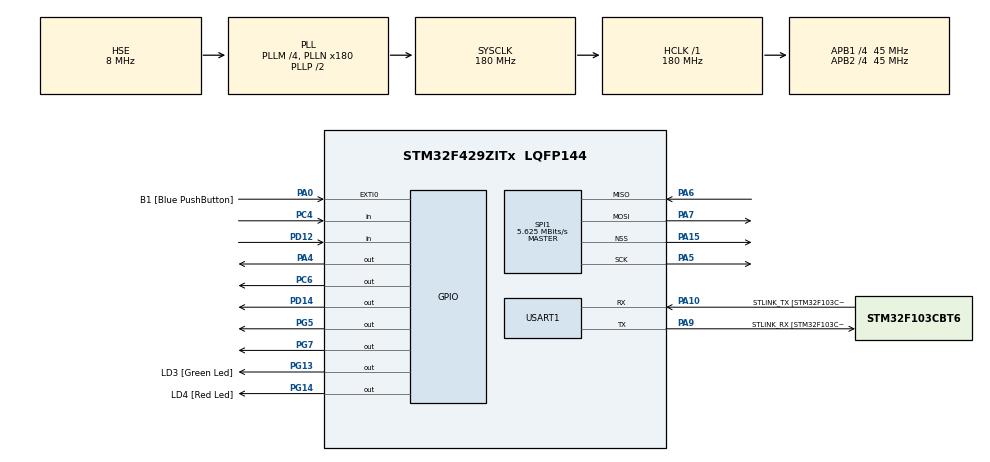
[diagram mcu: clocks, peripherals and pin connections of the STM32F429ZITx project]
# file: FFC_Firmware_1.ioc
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Dma.Request0=USART1_RX
Dma.USART1_RX.0.Direction=DMA_PERIPH_TO_MEMORY
Dma.USART1_RX.0.FIFOMode=DMA_FIFOMODE_DISABLE
Dma.USART1_RX.0.Instance=DMA2_Stream2
Dma.USART1_RX.0.MemDataAlignment=DMA_MDATAALIGN_BYTE
Dma.USART1_RX.0.MemInc=DMA_MINC_ENABLE
Dma.USART1_RX.0.Mode=DMA_CIRCULAR
Dma.USART1_RX.0.PeriphDataAlignment=DMA_PDATAALIGN_BYTE
Dma.USART1_RX.0.PeriphInc=DMA_PINC_DISABLE
Dma.USART1_RX.0.Priority=DMA_PRIORITY_LOW
Mcu.Family=STM32F4
Mcu.Name=STM32F429ZITx
Mcu.Package=LQFP144
NVIC.DMA2_Stream2_IRQn=true\:6\:0\:true\:false\:true\:false\:true\:true
NVIC.PriorityGroup=NVIC_PRIORITYGROUP_4
NVIC.TIM2_IRQn=true\:0\:0\:false\:false\:true\:true\:true\:true
NVIC.TIM6_DAC_IRQn=true\:15\:0\:false\:false\:true\:false\:true\:true
NVIC.TimeBase=TIM6_DAC_IRQn
NVIC.TimeBaseIP=TIM6
NVIC.USART1_IRQn=true\:6\:0\:true\:false\:true\:true\:true\:true
PA0/WKUP.GPIO_Label=B1 [Blue PushButton]
PA0/WKUP.GPIO_ModeDefaultEXTI=GPIO_MODE_EVT_RISING
PA0/WKUP.GPIO_PuPd=GPIO_NOPULL
PA0/WKUP.Signal=GPXTI0
PA10.GPIO_Label=STLINK_TX [STM32F103CBT6_PA2]
PA10.Mode=Asynchronous
PA10.Signal=USART1_RX
PA13.GPIO_Label=SWDIO
PA13.Mode=Serial_Wire
PA13.Signal=SYS_JTMS-SWDIO
PA14.GPIO_Label=SWCLK
PA14.Mode=Serial_Wire
PA14.Signal=SYS_JTCK-SWCLK
PA15.Mode=NSS_Signal_Hard_Output
PA15.Signal=SPI1_NSS
PA4.Signal=GPIO_Output
PA5.Mode=Full_Duplex_Master
PA5.Signal=SPI1_SCK
PA6.Mode=Full_Duplex_Master
PA6.Signal=SPI1_MISO
PA7.Mode=Full_Duplex_Master
PA7.Signal=SPI1_MOSI
PA9.GPIO_Label=STLINK_RX [STM32F103CBT6_PA3]
PA9.Mode=Asynchronous
PA9.Signal=USART1_TX
PC4.Signal=GPIO_Input
PC6.Signal=GPIO_Output
PD12.Signal=GPIO_Input
PD14.Signal=GPIO_Output
PG13.GPIO_Label=LD3 [Green Led]
PG13.GPIO_Mode=GPIO_MODE_OUTPUT_PP
PG13.GPIO_PuPd=GPIO_NOPULL
PG13.GPIO_Speed=GPIO_SPEED_FREQ_LOW
PG13.Signal=GPIO_Output
PG14.GPIO_Label=LD4 [Red Led]
PG14.GPIO_Mode=GPIO_MODE_OUTPUT_PP
PG14.GPIO_PuPd=GPIO_NOPULL
PG14.GPIO_Speed=GPIO_SPEED_FREQ_LOW
PG14.Signal=GPIO_Output
PG5.GPIO_Speed=GPIO_SPEED_FREQ_VERY_HIGH
PG5.Signal=GPIO_Output
PG7.Signal=GPIO_Output
PH0/OSC_IN.GPIO_Label=PH0-OSC_IN
PH0/OSC_IN.Mode=HSE-External-Oscillator
PH0/OSC_IN.Signal=RCC_OSC_IN
PH1/OSC_OUT.GPIO_Label=PH1-OSC_OUT
PH1/OSC_OUT.Mode=HSE-External-Oscillator
PH1/OSC_OUT.Signal=RCC_OSC_OUT
ProjectManager.HeapSize=0x200
ProjectManager.StackSize=0x400
ProjectManager.TargetToolchain=STM32CubeIDE
RCC.48MHZClocksFreq_Value=120000000
RCC.AHBFreq_Value=180000000
RCC.APB1CLKDivider=RCC_HCLK_DIV4
RCC.APB1Freq_Value=45000000
RCC.APB1TimFreq_Value=90000000
RCC.APB2CLKDivider=RCC_HCLK_DIV4
RCC.APB2Freq_Value=45000000
RCC.APB2TimFreq_Value=90000000
RCC.CortexFreq_Value=180000000
RCC.HCLKFreq_Value=180000000
RCC.HSE_VALUE=8000000
RCC.HSI_VALUE=16000000
RCC.LSE_VALUE=32768
RCC.PLLM=4
RCC.PLLN=180
RCC.PLLQ=3
RCC.PLLSAIN=50
RCC.PLLSourceVirtual=RCC_PLLSOURCE_HSE
RCC.SYSCLKFreq_VALUE=180000000
RCC.SYSCLKSource=RCC_SYSCLKSOURCE_PLLCLK
RCC.VCOOutputFreq_Value=360000000
SPI1.BaudRatePrescaler=SPI_BAUDRATEPRESCALER_8
SPI1.CLKPhase=SPI_PHASE_2EDGE
SPI1.CalculateBaudRate=5.625 MBits/s
SPI1.DataSize=SPI_DATASIZE_8BIT
SPI1.Direction=SPI_DIRECTION_2LINES
SPI1.Mode=SPI_MODE_MASTER
SPI1.VirtualNSS=VM_NSSHARD
SPI1.VirtualType=VM_MASTER
TIM2.CounterMode=TIM_COUNTERMODE_DOWN
TIM2.Period=0xffff-1
TIM2.Prescaler=90-1
TIM3.Period=0xffff-1
TIM3.Prescaler=90-1
USART1.VirtualMode=VM_ASYNC
VP_SYS_VS_tim6.Mode=TIM6
VP_TIM2_VS_ClockSourceINT.Mode=Internal
VP_TIM3_VS_ClockSourceINT.Mode=Internal
board=STM32F429I-DISC1

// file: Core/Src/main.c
/* USER CODE BEGIN Header */
/**
  ******************************************************************************
  * @file           : main.c
  * @brief          : Main program body
  ******************************************************************************
  * @attention
  *
  * Copyright (c) 2024 STMicroelectronics.
  * All rights reserved.
  *
  * This software is licensed under terms that can be found in the LICENSE file
  * in the root directory of this software component.
  * If no LICENSE file comes with this software, it is provided AS-IS.
  *
  ******************************************************************************
  */
/* USER CODE END Header */
#include "main.h"

/* USER CODE BEGIN Includes */
#include "stdio.h"
#include <stdarg.h>
#include "string.h"

#include "Uart_Handler.h"
#include "StepperController.h"
#include "RefModel.h"
#include "ADS1220.h"

#include <math.h>
/* USER CODE END Includes */

SPI_HandleTypeDef hspi1;

TIM_HandleTypeDef htim2;
TIM_HandleTypeDef htim3;

UART_HandleTypeDef huart1;
DMA_HandleTypeDef hdma_usart1_rx;

/* USER CODE BEGIN PV */
float speed = 0;
float force;
float LPF1_Beta = 0.6; // 0<ß<1 Force Filter constant

/*Debuging only variables */
float th = 2;
uint16_t fforce = 0;
uint16_t tMarks[10] = {0};
uint16_t timeouts = 0;
uint16_t oddDrv = 0;
/**/

rMod_t hmod1 = {0};
piCon_t hcon1 = {0}; // PI position controller
cMap_1d_t Spring_Map[255] = {{-90, 0},
                            {-5,   0},
                            {-5,   10},
                            { 5,  -10},
                            { 5,   0},
                            { 90,  0}};
uint8_t Spring_Map_Points = 6; // Number of points defined in the curve vector

cMap_1d_t Damping_Map[255] = {{-5,  20},
							  {0,   10},
							  {5,   20}};
uint8_t Damping_Map_Points = 3; // Number of points defined in the curve vector

/* USER CODE END PV */

void SystemClock_Config(void);
static void MX_GPIO_Init(void);
static void MX_DMA_Init(void);
static void MX_USART1_UART_Init(void);
static void MX_TIM2_Init(void);
static void MX_TIM3_Init(void);
static void MX_SPI1_Init(void);
/* USER CODE BEGIN PFP */

uint8_t checkModelTimeout(uint8_t rst, uint32_t dt){

	static uint8_t ptr = 0;

	if (rst) {
		ptr = 0;
		memset(tMarks, 0, sizeof(tMarks));
	}else{
		if(ptr == 0) tMarks[ptr++] = __HAL_TIM_GET_COUNTER(&htim3);
		else tMarks[ptr++] = __HAL_TIM_GET_COUNTER(&htim3) - tMarks[ptr-1];
	}
	  if(__HAL_TIM_GET_COUNTER(&htim3) > dt){
		  HAL_TIM_Base_Stop(&htim3);
		  HAL_TIM_Base_Stop(&htim2);
		  asm("NOP");
		  timeouts++;
		  HAL_TIM_Base_Start(&htim3);
		  HAL_TIM_Base_Start(&htim2);
		  return 1;
	  }
	  return 0;
}
//void delay_us(uint16_t us){
//	__HAL_TIM_SET_COUNTER(&htim2, 0);
//	while(__HAL_TIM_GET_COUNTER(&htim2) < us);
//}

//
//
////https://cdn.sparkfun.com/assets/learn_tutorials/5/4/6/hx711F_EN.pdf
//int32_t Sensor_Receive(void){
//
//	static uint32_t pData = 0;
//	HAL_GPIO_WritePin(GPIOD, GPIO_PIN_14, GPIO_PIN_RESET);
//
//	if(HAL_GPIO_ReadPin(GPIOD, GPIO_PIN_12) == GPIO_PIN_SET) return pData;
////	while(HAL_GPIO_ReadPin(GPIOD, GPIO_PIN_12) == GPIO_PIN_SET);
//	pData = 0;
//
//	// Read ChA Gain 128
//	for(int i=0; i<24; i++){
//		HAL_GPIO_WritePin(GPIOD, GPIO_PIN_14, GPIO_PIN_SET);
//		pData = pData<<1;
//		HAL_GPIO_WritePin(GPIOD, GPIO_PIN_14, GPIO_PIN_RESET);
//		if (HAL_GPIO_ReadPin(GPIOD, GPIO_PIN_12) == GPIO_PIN_SET) pData++;
//	}
//
//	HAL_GPIO_WritePin(GPIOD, GPIO_PIN_14, GPIO_PIN_SET);
//	//pData=pData^0x800000;
//	HAL_GPIO_WritePin(GPIOD, GPIO_PIN_14, GPIO_PIN_RESET);
//
//	if(pData&0x00800000) pData |= 0xff000000; // Convert 24bits 2's complement into 32bits
//	return pData;
//}
/* USER CODE END PFP */

int main(void)
{

  /* MCU Configuration--------------------------------------------------------*/

  /* Reset of all peripherals, Initializes the Flash interface and the Systick. */
  HAL_Init();

  /* Configure the system clock */
  SystemClock_Config();

  /* Initialize all configured peripherals */
  MX_GPIO_Init();
  MX_DMA_Init();
  MX_USART1_UART_Init();
  MX_TIM2_Init();
  MX_TIM3_Init();
  MX_SPI1_Init();
  /* USER CODE BEGIN 2 */

  HAL_TIM_Base_Start(&htim3);
  HAL_TIM_Base_Start_IT(&htim2);
  UART1_Init();
  /* USER CODE END 2 */

  /* Infinite loop */
  /* USER CODE BEGIN WHILE */

//https://roboticx.ps/product/ad620-instrumentation-amplifier-module/

//  ADS1220_select_mux_config(&hspi1, ADS1220_MUX_AIN1_AIN2, &regs);
//  ADS1220_set_pga_gain(&hspi1, ADS1220_PGA_GAIN_128, &regs);
//  ADS1220_set_operating_mode(&hspi1, ADS1220_MODE_TURBO, &regs);
//  ADS1220_set_data_rate(&hspi1, ADS1220_TM_2000SPS, &regs);
//  ADS1220_set_conv_mode_continuous(&hspi1, &regs);
//  ADS1220_set_voltage_ref(&hspi1, ADS1220_VREF_EXT_REF_1, &regs);
//  ADS1220_enable_PSW(&hspi1, &regs);
//  ADS1220_get_config(&hspi1, &regs);

  ADS1220_regs regs = { 0x3E, 0xD4, 0x88, 0x00 };
  ADS1220_init(&hspi1, &regs); // Optionally check for failure
  ADS1220_set_conv_mode_single_shot(&hspi1, &regs);
  //ADS1220_start_conversion(&hspi1);

  	uint32_t timeStamp = 0; /* Timer for UART tx */

  	//force emulation
	int32_t fOffset = 137;
	float scalingFactor_N = 84.5;  // bits per Newton

	hmod1.dt = 500; 	// us /* This can go lower than 500us due ADC timing limitations */

	hmod1.m = 1;
	hmod1.c = 20; 		// N.s/m
	//hmod1.k = 50; 		// N/m

  hmod1.k_map = &Spring_Map;
  hmod1.k_mapSize = Spring_Map_Points;

  hmod1.c_map = &Damping_Map;
  hmod1.c_mapSize = Damping_Map_Points;

	hmod1.us = 0.2; 		// Dynamic friction coefficient
	hmod1.ud = 0.2; 		// Static friction coefficient
	hmod1.N = 5; 			// Normal Force (Weight)
	hmod1.dfv = 0.01;	// mm/s

	hmod1.posMinLim = Spring_Map[0].x;
	hmod1.posMaxLim = Spring_Map[Spring_Map_Points-1].x;

	hmod1.velMaxLim = 1500;	// Hardware max reachable speed.
	hmod1.velMinLim = -1500;

	hcon1.dt = hmod1.dt;
	hcon1.kp = 100;
	hcon1.ki = 0.25;
	hcon1.outMax = hmod1.velMaxLim;
	hcon1.outMin = hmod1.velMinLim;

  while (1)
  {
	  __HAL_TIM_SET_COUNTER(&htim3, 0); // re-start monitoring timer
/*N*/  checkModelTimeout(1, hmod1.dt);

	  UART1_Handler();
	  /*1*/  checkModelTimeout(0, hmod1.dt);
	  int32_t sAux = 0;
	  if( ADS1220_read_singleshot(&hspi1, GPIOC, GPIO_PIN_4, &sAux, 10) ){

		  int16_t raw = ((sAux & 0x00FFFF00)>>8) + fOffset;
		  float nforce = (float)raw / scalingFactor_N;

		  /*Debug Foce sensor*/
		  if(fabs((double)(nforce-force)) > th){
			fforce++;
		  }

		  force = nforce;
	  }

	  /*2*/  checkModelTimeout(0, hmod1.dt);
	// Filter 1 Force
	  static float smoothForce = 0;
	  smoothForce = smoothForce - (LPF1_Beta * (smoothForce - force));
	  /*3*/  checkModelTimeout(0, hmod1.dt);
	// Reference model
	//------------------------------------------//
	 refModel_Tick(&hmod1, smoothForce);
	//------------------------------------------//
	 /*4*/  checkModelTimeout(0, hmod1.dt);
	// Position Controller
	//------------------------------------------//
	hcon1.dt = hmod1.dt;
	float refSpeed = Compute_PI(&hcon1, hmod1.pos, (StepCon_GetPosition()));
	/*5*/  checkModelTimeout(0, hmod1.dt);
	//------------------------------------------//

	 /* Drive motor Speed with corrected ref velocity */
	 speed = (hmod1.vel + refSpeed); // in mm/s

	 StepCon_Speed(speed);

	 // Console logs
	 if(timeStamp + 50 < HAL_GetTick()){
		 UART1_printf("cmd=%.4f, %.4f\r\n", (float)StepCon_GetPosition(), smoothForce);
		 timeStamp = HAL_GetTick();
	 }

//
//	//	/* Set here a timer to wait for the elapsed time.
//	//	 * You can compare the timer counter and trigger an alarm
//	//	 * if the time was already gone by the time the program
//	//	 * reached this point
//	//	 **/

/*6*/  checkModelTimeout(0, hmod1.dt);
	 while(__HAL_TIM_GET_COUNTER(&htim3) < hmod1.dt);

    /* USER CODE END WHILE */

  }
}

void SystemClock_Config(void)
{
  RCC_OscInitTypeDef RCC_OscInitStruct = {0};
  RCC_ClkInitTypeDef RCC_ClkInitStruct = {0};

  /** Configure the main internal regulator output voltage
  */
  __HAL_RCC_PWR_CLK_ENABLE();
  __HAL_PWR_VOLTAGESCALING_CONFIG(PWR_REGULATOR_VOLTAGE_SCALE1);

  /** Initializes the RCC Oscillators according to the specified parameters
  * in the RCC_OscInitTypeDef structure.
  */
  RCC_OscInitStruct.OscillatorType = RCC_OSCILLATORTYPE_HSE;
  RCC_OscInitStruct.HSEState = RCC_HSE_ON;
  RCC_OscInitStruct.PLL.PLLState = RCC_PLL_ON;
  RCC_OscInitStruct.PLL.PLLSource = RCC_PLLSOURCE_HSE;
  RCC_OscInitStruct.PLL.PLLM = 4;
  RCC_OscInitStruct.PLL.PLLN = 180;
  RCC_OscInitStruct.PLL.PLLP = RCC_PLLP_DIV2;
  RCC_OscInitStruct.PLL.PLLQ = 3;
  if (HAL_RCC_OscConfig(&RCC_OscInitStruct) != HAL_OK)
  {
    Error_Handler();
  }

  /** Activate the Over-Drive mode
  */
  if (HAL_PWREx_EnableOverDrive() != HAL_OK)
  {
    Error_Handler();
  }

  /** Initializes the CPU, AHB and APB buses clocks
  */
  RCC_ClkInitStruct.ClockType = RCC_CLOCKTYPE_HCLK|RCC_CLOCKTYPE_SYSCLK
                              |RCC_CLOCKTYPE_PCLK1|RCC_CLOCKTYPE_PCLK2;
  RCC_ClkInitStruct.SYSCLKSource = RCC_SYSCLKSOURCE_PLLCLK;
  RCC_ClkInitStruct.AHBCLKDivider = RCC_SYSCLK_DIV1;
  RCC_ClkInitStruct.APB1CLKDivider = RCC_HCLK_DIV4;
  RCC_ClkInitStruct.APB2CLKDivider = RCC_HCLK_DIV4;

  if (HAL_RCC_ClockConfig(&RCC_ClkInitStruct, FLASH_LATENCY_5) != HAL_OK)
  {
    Error_Handler();
  }
}

static void MX_SPI1_Init(void)
{

  /* SPI1 parameter configuration*/
  hspi1.Instance = SPI1;
  hspi1.Init.Mode = SPI_MODE_MASTER;
  hspi1.Init.Direction = SPI_DIRECTION_2LINES;
  hspi1.Init.DataSize = SPI_DATASIZE_8BIT;
  hspi1.Init.CLKPolarity = SPI_POLARITY_LOW;
  hspi1.Init.CLKPhase = SPI_PHASE_2EDGE;
  hspi1.Init.NSS = SPI_NSS_HARD_OUTPUT;
  hspi1.Init.BaudRatePrescaler = SPI_BAUDRATEPRESCALER_8;
  hspi1.Init.FirstBit = SPI_FIRSTBIT_MSB;
  hspi1.Init.TIMode = SPI_TIMODE_DISABLE;
  hspi1.Init.CRCCalculation = SPI_CRCCALCULATION_DISABLE;
  hspi1.Init.CRCPolynomial = 10;
  if (HAL_SPI_Init(&hspi1) != HAL_OK)
  {
    Error_Handler();
  }

}

static void MX_TIM2_Init(void)
{

  TIM_ClockConfigTypeDef sClockSourceConfig = {0};
  TIM_MasterConfigTypeDef sMasterConfig = {0};

  htim2.Instance = TIM2;
  htim2.Init.Prescaler = 90-1;
  htim2.Init.CounterMode = TIM_COUNTERMODE_DOWN;
  htim2.Init.Period = 0xffff-1;
  htim2.Init.ClockDivision = TIM_CLOCKDIVISION_DIV1;
  htim2.Init.AutoReloadPreload = TIM_AUTORELOAD_PRELOAD_DISABLE;
  if (HAL_TIM_Base_Init(&htim2) != HAL_OK)
  {
    Error_Handler();
  }
  sClockSourceConfig.ClockSource = TIM_CLOCKSOURCE_INTERNAL;
  if (HAL_TIM_ConfigClockSource(&htim2, &sClockSourceConfig) != HAL_OK)
  {
    Error_Handler();
  }
  sMasterConfig.MasterOutputTrigger = TIM_TRGO_RESET;
  sMasterConfig.MasterSlaveMode = TIM_MASTERSLAVEMODE_DISABLE;
  if (HAL_TIMEx_MasterConfigSynchronization(&htim2, &sMasterConfig) != HAL_OK)
  {
    Error_Handler();
  }

}

static void MX_TIM3_Init(void)
{

  TIM_ClockConfigTypeDef sClockSourceConfig = {0};
  TIM_MasterConfigTypeDef sMasterConfig = {0};

  htim3.Instance = TIM3;
  htim3.Init.Prescaler = 90-1;
  htim3.Init.CounterMode = TIM_COUNTERMODE_UP;
  htim3.Init.Period = 0xffff-1;
  htim3.Init.ClockDivision = TIM_CLOCKDIVISION_DIV1;
  htim3.Init.AutoReloadPreload = TIM_AUTORELOAD_PRELOAD_DISABLE;
  if (HAL_TIM_Base_Init(&htim3) != HAL_OK)
  {
    Error_Handler();
  }
  sClockSourceConfig.ClockSource = TIM_CLOCKSOURCE_INTERNAL;
  if (HAL_TIM_ConfigClockSource(&htim3, &sClockSourceConfig) != HAL_OK)
  {
    Error_Handler();
  }
  sMasterConfig.MasterOutputTrigger = TIM_TRGO_RESET;
  sMasterConfig.MasterSlaveMode = TIM_MASTERSLAVEMODE_DISABLE;
  if (HAL_TIMEx_MasterConfigSynchronization(&htim3, &sMasterConfig) != HAL_OK)
  {
    Error_Handler();
  }

}

static void MX_USART1_UART_Init(void)
{

  huart1.Instance = USART1;
  huart1.Init.BaudRate = 115200;
  huart1.Init.WordLength = UART_WORDLENGTH_8B;
  huart1.Init.StopBits = UART_STOPBITS_1;
  huart1.Init.Parity = UART_PARITY_NONE;
  huart1.Init.Mode = UART_MODE_TX_RX;
  huart1.Init.HwFlowCtl = UART_HWCONTROL_NONE;
  huart1.Init.OverSampling = UART_OVERSAMPLING_16;
  if (HAL_UART_Init(&huart1) != HAL_OK)
  {
    Error_Handler();
  }

}

static void MX_DMA_Init(void)
{

  /* DMA controller clock enable */
  __HAL_RCC_DMA2_CLK_ENABLE();

  /* DMA interrupt init */
  /* DMA2_Stream2_IRQn interrupt configuration */
  HAL_NVIC_SetPriority(DMA2_Stream2_IRQn, 6, 0);
  HAL_NVIC_EnableIRQ(DMA2_Stream2_IRQn);

}

static void MX_GPIO_Init(void)
{
  GPIO_InitTypeDef GPIO_InitStruct = {0};

  /* GPIO Ports Clock Enable */
  __HAL_RCC_GPIOH_CLK_ENABLE();
  __HAL_RCC_GPIOA_CLK_ENABLE();
  __HAL_RCC_GPIOC_CLK_ENABLE();
  __HAL_RCC_GPIOD_CLK_ENABLE();
  __HAL_RCC_GPIOG_CLK_ENABLE();

  /*Configure GPIO pin Output Level */
  HAL_GPIO_WritePin(GPIOA, GPIO_PIN_4, GPIO_PIN_RESET);

  /*Configure GPIO pin Output Level */
  HAL_GPIO_WritePin(GPIOD, GPIO_PIN_14, GPIO_PIN_RESET);

  /*Configure GPIO pin Output Level */
  HAL_GPIO_WritePin(GPIOG, GPIO_PIN_5|GPIO_PIN_7|LD3_Pin|LD4_Pin, GPIO_PIN_RESET);

  /*Configure GPIO pin Output Level */
  HAL_GPIO_WritePin(GPIOC, GPIO_PIN_6, GPIO_PIN_RESET);

  /*Configure GPIO pin : B1_Pin */
  GPIO_InitStruct.Pin = B1_Pin;
  GPIO_InitStruct.Mode = GPIO_MODE_EVT_RISING;
  GPIO_InitStruct.Pull = GPIO_NOPULL;
  HAL_GPIO_Init(B1_GPIO_Port, &GPIO_InitStruct);

  /*Configure GPIO pin : PA4 */
  GPIO_InitStruct.Pin = GPIO_PIN_4;
  GPIO_InitStruct.Mode = GPIO_MODE_OUTPUT_PP;
  GPIO_InitStruct.Pull = GPIO_NOPULL;
  GPIO_InitStruct.Speed = GPIO_SPEED_FREQ_LOW;
  HAL_GPIO_Init(GPIOA, &GPIO_InitStruct);

  /*Configure GPIO pin : PC4 */
  GPIO_InitStruct.Pin = GPIO_PIN_4;
  GPIO_InitStruct.Mode = GPIO_MODE_INPUT;
  GPIO_InitStruct.Pull = GPIO_NOPULL;
  HAL_GPIO_Init(GPIOC, &GPIO_InitStruct);

  /*Configure GPIO pin : PD12 */
  GPIO_InitStruct.Pin = GPIO_PIN_12;
  GPIO_InitStruct.Mode = GPIO_MODE_INPUT;
  GPIO_InitStruct.Pull = GPIO_NOPULL;
  HAL_GPIO_Init(GPIOD, &GPIO_InitStruct);

  /*Configure GPIO pin : PD14 */
  GPIO_InitStruct.Pin = GPIO_PIN_14;
  GPIO_InitStruct.Mode = GPIO_MODE_OUTPUT_PP;
  GPIO_InitStruct.Pull = GPIO_NOPULL;
  GPIO_InitStruct.Speed = GPIO_SPEED_FREQ_LOW;
  HAL_GPIO_Init(GPIOD, &GPIO_InitStruct);

  /*Configure GPIO pin : PG5 */
  GPIO_InitStruct.Pin = GPIO_PIN_5;
  GPIO_InitStruct.Mode = GPIO_MODE_OUTPUT_PP;
  GPIO_InitStruct.Pull = GPIO_NOPULL;
  GPIO_InitStruct.Speed = GPIO_SPEED_FREQ_VERY_HIGH;
  HAL_GPIO_Init(GPIOG, &GPIO_InitStruct);

  /*Configure GPIO pins : PG7 LD3_Pin LD4_Pin */
  GPIO_InitStruct.Pin = GPIO_PIN_7|LD3_Pin|LD4_Pin;
  GPIO_InitStruct.Mode = GPIO_MODE_OUTPUT_PP;
  GPIO_InitStruct.Pull = GPIO_NOPULL;
  GPIO_InitStruct.Speed = GPIO_SPEED_FREQ_LOW;
  HAL_GPIO_Init(GPIOG, &GPIO_InitStruct);

  /*Configure GPIO pin : PC6 */
  GPIO_InitStruct.Pin = GPIO_PIN_6;
  GPIO_InitStruct.Mode = GPIO_MODE_OUTPUT_PP;
  GPIO_InitStruct.Pull = GPIO_NOPULL;
  GPIO_InitStruct.Speed = GPIO_SPEED_FREQ_LOW;
  HAL_GPIO_Init(GPIOC, &GPIO_InitStruct);

}

/* USER CODE BEGIN 4 */

void UART1_Cmd_Callback(uint8_t* cmd, uint16_t len){

	/* Process your commands here */
	float aux = 0;

	if(!len) return; /* Ignore empty commands */

	if( isCmd("fmap=") ) {

    cMap_1d_t* points = (cMap_1d_t*) hmod1.k_map;

    // Skip the "cmap=" prefix
    const char* data_start = (const char*)cmd + 5;

    // Determine the number of pairs by counting commas
    uint16_t num_pairs = 0;
    const char* ptr = data_start;
    //while (*ptr) {
    for (int i=0;i<(len-5);i++){
      if (*ptr == ',') {
        num_pairs++;
      }
      ptr++;
    }

    // Each pair has two values, so number of pairs is half the commas
    num_pairs = (num_pairs + 1) / 2;

    if (num_pairs > 255) return;

    // Parse the data points using sscanf
    size_t index = 0;
    ptr = data_start;
    while (index < num_pairs && *ptr) {
      float x, y;
      int scanned = sscanf(ptr, "%f,%f", &x, &y);
      if (scanned == 2) {
        points[index].x = x;
        points[index].f = y;
        index++;
      }

      // Move pointer to the next pair
      while (*ptr && *ptr != ',') ptr++;
      if (*ptr == ',') ptr++;
      while (*ptr && *ptr != ',') ptr++;
      if (*ptr == ',') ptr++;
    }

    hmod1.k_mapSize = num_pairs;

    hmod1.posMinLim = points[0].x;
    hmod1.posMaxLim = points[num_pairs-1].x;

  }if( isCmd("cmap=") ) {

    cMap_1d_t* points = (cMap_1d_t*) hmod1.c_map;

    // Skip the "cmap=" prefix
    const char* data_start = (const char*)cmd + 5;

    // Determine the number of pairs by counting commas
    uint16_t num_pairs = 0;
    const char* ptr = data_start;
    //while (*ptr) {
    for (int i=0;i<(len-5);i++){
      if (*ptr == ',') {
        num_pairs++;
      }
      ptr++;
    }

    // Each pair has two values, so number of pairs is half the commas
    num_pairs = (num_pairs + 1) / 2;

    if (num_pairs > 255) return;

    // Parse the data points using sscanf
    size_t index = 0;
    ptr = data_start;
    while (index < num_pairs && *ptr) {
      float x, y;
      int scanned = sscanf(ptr, "%f,%f", &x, &y);
      if (scanned == 2) {
        points[index].x = x;
        points[index].f = y;
        index++;
      }

      // Move pointer to the next pair
      while (*ptr && *ptr != ',') ptr++;
      if (*ptr == ',') ptr++;
      while (*ptr && *ptr != ',') ptr++;
      if (*ptr == ',') ptr++;
    }

    hmod1.c_mapSize = num_pairs;

	}else if( isCmd("mass=") ) {

		int res = sscanf((const char*)cmd,"mass=%f", &aux);
		if(res) {
			hmod1.m = aux;
		}

	}else if( isCmd("damp=") ) {
		int res = sscanf((const char*)cmd,"damp=%f", &aux);
		if(res) {
			//hmod1.c = aux;
		}

	}else if( isCmd("frcn=") ) {
		int res = sscanf((const char*)cmd,"frcn=%f", &aux);
		if(res) {
			hmod1.N = aux;
		}

	}else if( isCmd("vmax=") ) {
		int res = sscanf((const char*)cmd,"vmax=%f", &aux);
		if(res) {
			hmod1.velMaxLim = aux;
		}

	}else if( isCmd("vmin=") ) {
		int res = sscanf((const char*)cmd,"vmin=%f", &aux);
		if(res) {
			hmod1.velMinLim = aux;
		}
	}

	/*----------------------------*/
}

//void HAL_TIM_PeriodElapsedCallback(TIM_HandleTypeDef *htim){
//
//	 if (htim->Instance == TIM2) {
//
//		 StepCon_pulseTick();
//	}
//
//}

void HAL_GPIO_EXTI_Callback(uint16_t GPIO_Pin){

//	uint8_t SPIbuf[3] = {0};
//	long int bit24;
//
//	HAL_SPI_Receive(&hspi1, SPIbuf, 3, 1);
//
//	bit24 = SPIbuf[0];
//	bit24 = (bit24 << 8) | SPIbuf[1];
//	bit24 = (bit24 << 8) | SPIbuf[2]; //Converting 3 bytes to a 24 bit int
//
//	bit24 = (bit24 << 8);
//	fSens = (bit24 >> 8); //Converting 24 bit two's complement to 32 bit two's complement
//	asm("NOP");
}
/* USER CODE END 4 */

void HAL_TIM_PeriodElapsedCallback(TIM_HandleTypeDef *htim)
{
  /* USER CODE BEGIN Callback 0 */
	if (htim->Instance == TIM2) {
		StepCon_pulseTick();
	}
  /* USER CODE END Callback 0 */
  if (htim->Instance == TIM6) {
    HAL_IncTick();
  }
}

void Error_Handler(void)
{
  __disable_irq();
  while (1)
  {
  }
}
